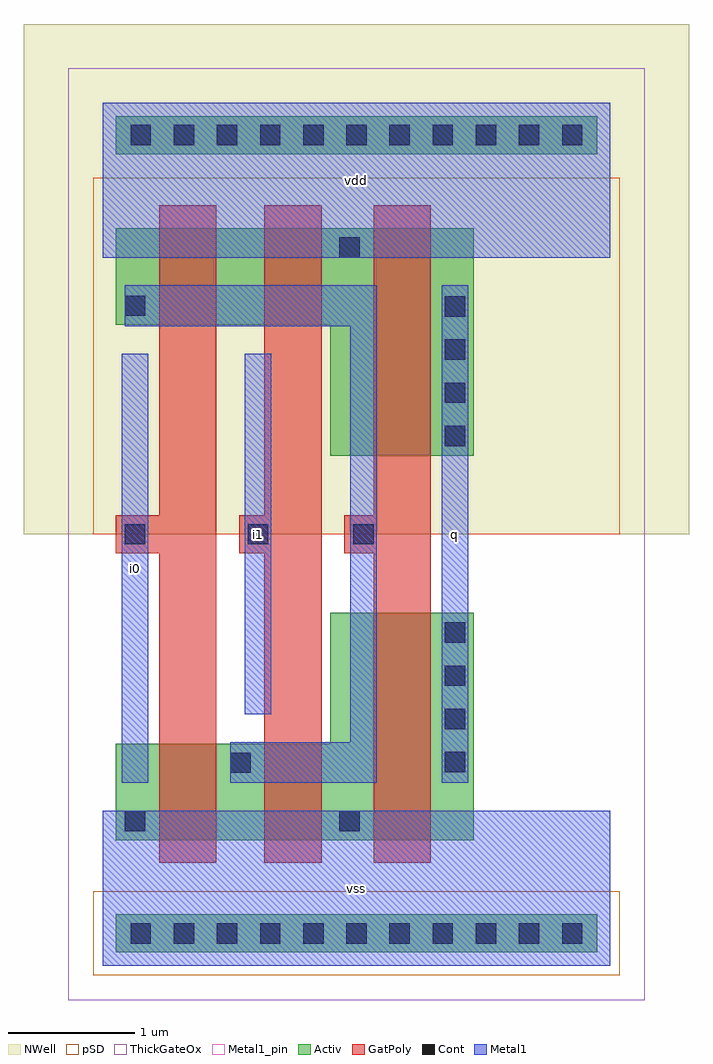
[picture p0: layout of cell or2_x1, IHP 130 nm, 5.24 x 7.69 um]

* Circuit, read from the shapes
.subckt or2_x1 i0 i1 q vdd vss
XM1 n1 i0 vss vss sg13_hv_nmos w=0.76u l=0.45u
XM2 vss i1 n1 vss sg13_hv_nmos w=0.76u l=0.45u
XM3 q n1 vss vss sg13_hv_nmos w=1.79u l=0.45u
XM4 n2 i0 n1 vdd sg13_hv_pmos w=0.76u l=0.45u
XM5 vdd i1 n2 vdd sg13_hv_pmos w=0.76u l=0.45u
XM6 q n1 vdd vdd sg13_hv_pmos w=1.79u l=0.45u
.ends

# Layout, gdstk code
import gdstk
lib = gdstk.Library(unit=1e-6, precision=1e-09)
def R(c, l, rs):  # rectangles x0, y0, x1, y1
    for r in rs: c.add(gdstk.rectangle(r[:2], r[2:], *l))
def A(c, l, x, y, w, h, nx, ny, dx, dy):  # array of equal rectangles
    R(c, l, [(x+i*dx, y+j*dy, x+i*dx+w, y+j*dy+h) for i in range(nx) for j in range(ny)])
def P(c, l, *ps):  # polygons
    for p in ps: c.add(gdstk.Polygon(p, *l))
Activ = (1, 0)
GatPoly = (5, 0)
Cont = (6, 0)
Metal1 = (8, 0)
Metal1_pin = (8, 2)
pSD = (14, 0)
NWell = (31, 0)
ThickGateOx = (44, 0)

or2_x1 = lib.new_cell('or2_x1')
R(or2_x1, Activ, [(0.105,0.105,3.895,0.405), (0.105,6.395,3.895,6.695)])
P(or2_x1, Activ, [(0.105,0.99),(0.105,1.75),(1.795,1.75),(1.795,2.78),(2.925,2.78),(2.925,0.99)],
  [(1.795,4.02),(1.795,5.05),(0.105,5.05),(0.105,5.81),(2.925,5.81),(2.925,4.02)])
P(or2_x1, GatPoly, [(2.135,0.81),(2.135,3.25),(1.905,3.25),(1.905,3.55),(2.135,3.55),(2.135,5.99),(2.585,5.99),(2.585,0.81)],
  [(0.445,0.81),(0.445,3.25),(0.105,3.25),(0.105,3.55),(0.445,3.55),(0.445,5.99),(0.895,5.99),(0.895,0.81)],
  [(1.275,0.81),(1.275,3.25),(1.075,3.25),(1.075,3.55),(1.275,3.55),(1.275,5.99),(1.725,5.99),(1.725,0.81)])
A(or2_x1, Cont, 0.22, 0.175, 0.16, 0.16, 11, 2, 0.34, 6.29)
A(or2_x1, Cont, 2.695, 1.525, 0.16, 0.16, 1, 4, 0, 0.34)
A(or2_x1, Cont, 2.695, 4.095, 0.16, 0.16, 1, 4, 0, 0.34)
R(or2_x1, Cont, [(0.175,1.06,0.335,1.22), (1.865,1.06,2.025,1.22), (1.005,1.52,1.165,1.68), (0.175,3.32,0.335,3.48), (1.145,3.32,1.305,3.48), (1.975,3.32,2.135,3.48), (0.175,5.12,0.335,5.28), (1.865,5.58,2.025,5.74)])
R(or2_x1, Metal1, [(0,0,4,1.22), (0.15,1.44,0.36,4.82), (2.67,1.44,2.88,5.36), (1.12,1.98,1.33,4.82), (0,5.58,4,6.8)])
P(or2_x1, Metal1, [(1.005,1.44),(1.005,1.76),(1.95,1.76),(1.95,5.04),(0.175,5.04),(0.175,5.36),(2.16,5.36),(2.16,1.44)])
R(or2_x1, Metal1_pin, [(0,0,4,1.22), (0.15,1.44,0.36,4.82), (2.67,1.44,2.88,5.36), (1.12,1.98,1.33,4.82), (0,5.58,4,6.8)])
R(or2_x1, pSD, [(-0.075,-0.075,4.075,0.585), (-0.075,3.4,4.075,6.21)])
R(or2_x1, NWell, [(-0.62,3.4,4.62,7.42)])
R(or2_x1, ThickGateOx, [(-0.27,-0.27,4.27,7.07)])
or2_x1.add(gdstk.Label('vss', (2,0.61), layer=8, texttype=2))
or2_x1.add(gdstk.Label('vdd', (2,6.19), layer=8, texttype=2))
or2_x1.add(gdstk.Label('i0', (0.255,3.13), layer=8, texttype=2))
or2_x1.add(gdstk.Label('i1', (1.225,3.4), layer=8, texttype=2))
or2_x1.add(gdstk.Label('q', (2.775,3.4), layer=8, texttype=2))

lib.write_gds('or2_x1.gds')
